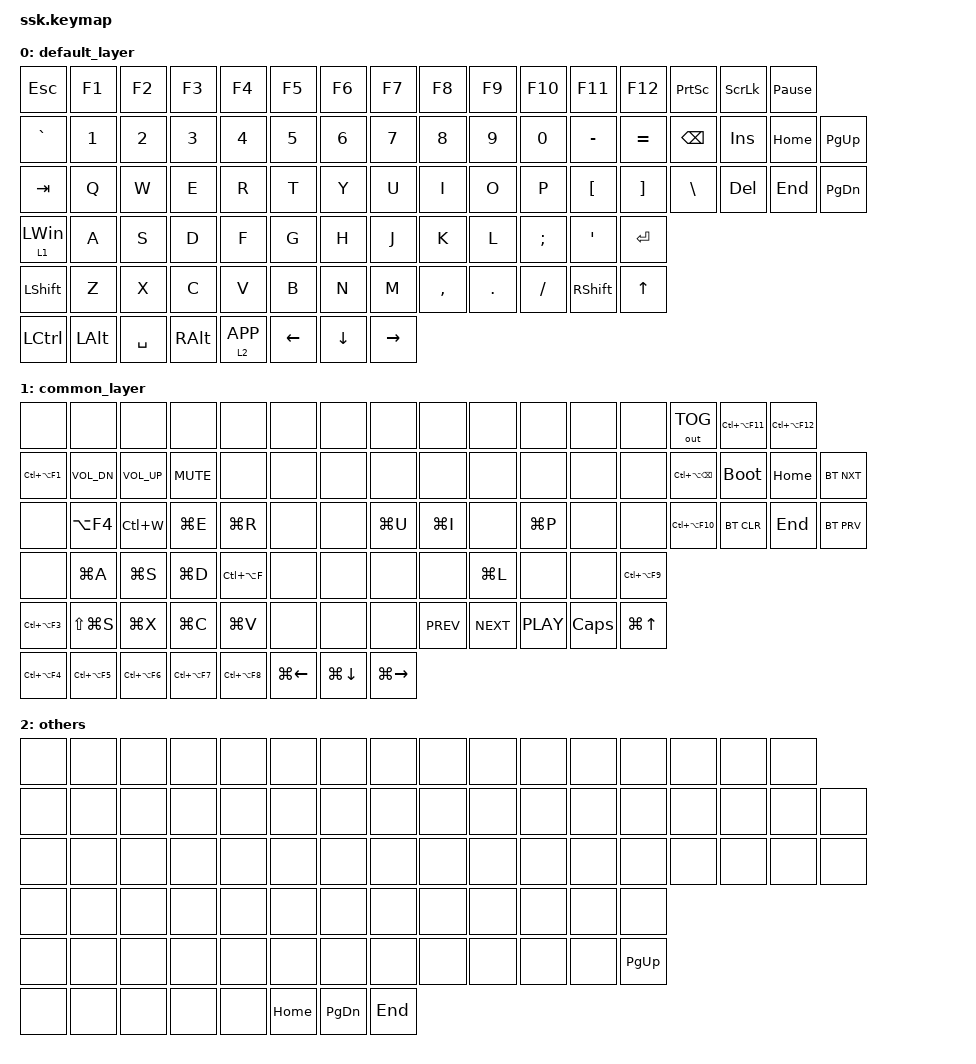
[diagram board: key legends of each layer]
#include <behaviors.dtsi>
#include <dt-bindings/zmk/bt.h>
#include <dt-bindings/zmk/keys.h>
#include <dt-bindings/zmk/outputs.h>

#define DEFAULT 0
#define COMMON 1
#define FIXRALT 2

/ {
    keymap {
        compatible = "zmk,keymap";

        default_layer {
            bindings = <
&kp ESC     &kp F1    &kp F2     &kp F3         &kp F4       &kp F5    &kp F6    &kp F7     &kp F8     &kp F9   &kp F10   &kp F11    &kp F12    &kp PSCRN  &kp SLCK  &kp PAUSE_BREAK
&kp GRAVE   &kp N1    &kp N2     &kp N3         &kp N4       &kp N5    &kp N6    &kp N7     &kp N8     &kp N9   &kp N0    &kp MINUS  &kp EQUAL  &kp BSPC   &kp INS   &kp HOME         &kp PG_UP
&kp TAB     &kp Q     &kp W      &kp E          &kp R        &kp T     &kp Y     &kp U      &kp I      &kp O    &kp P     &kp LBKT   &kp RBKT   &kp BSLH   &kp DEL   &kp END          &kp PG_DN
&lt 1 LWIN  &kp A     &kp S      &kp D          &kp F        &kp G     &kp H     &kp J      &kp K      &kp L    &kp SEMI  &kp APOS   &kp ENTER
&kp LSHFT   &kp Z     &kp X      &kp C          &kp V        &kp B     &kp N     &kp M      &kp COMMA  &kp DOT  &kp FSLH  &kp RSHFT  &kp UP
&kp LCTRL   &kp LALT  &kp SPACE  &kp RIGHT_ALT  &lt 2 K_APP  &kp LEFT  &kp DOWN  &kp RIGHT
            >;
        };

        common_layer {
            bindings = <
&none           &none           &none           &none           &none           &none         &none         &none          &none       &none       &none       &none     &none           &out OUT_TOG      &kp LC(LA(F11))  &kp LC(LA(F12))
&kp LC(LA(F1))  &kp C_VOL_DN    &kp C_VOL_UP    &kp C_MUTE      &none           &none         &none         &none          &none       &none       &none       &none     &none           &kp LC(LA(BSPC))  &bootloader      &kp HOME         &bt BT_NXT
&none           &kp LA(F4)      &kp LC(W)       &kp LG(E)       &kp LG(R)       &none         &none         &kp LG(U)      &kp LG(I)   &none       &kp LG(P)   &none     &none           &kp LC(LA(F10))   &bt BT_CLR       &kp END          &bt BT_PRV
&none           &kp LG(A)       &kp LG(S)       &kp LG(D)       &kp LC(LA(F))   &none         &none         &none          &none       &kp LG(L)   &none       &none     &kp LC(LA(F9))
&kp LC(LA(F3))  &kp LS(LG(S))   &kp LG(X)       &kp LG(C)       &kp LG(V)       &none         &none         &none          &kp C_PREV  &kp C_NEXT  &kp C_PLAY  &kp CAPS  &kp LG(UP)
&kp LC(LA(F4))  &kp LC(LA(F5))  &kp LC(LA(F6))  &kp LC(LA(F7))  &kp LC(LA(F8))  &kp LG(LEFT)  &kp LG(DOWN)  &kp LG(RIGHT)
            >;
        };

        others {
            bindings = <
&none  &none  &none  &none  &none  &none     &none      &none    &none  &none  &none  &none  &none      &none  &none  &none
&none  &none  &none  &none  &none  &none     &none      &none    &none  &none  &none  &none  &none      &none  &none  &none  &none
&none  &none  &none  &none  &none  &none     &none      &none    &none  &none  &none  &none  &none      &none  &none  &none  &none
&none  &none  &none  &none  &none  &none     &none      &none    &none  &none  &none  &none  &none
&none  &none  &none  &none  &none  &none     &none      &none    &none  &none  &none  &none  &kp PG_UP
&none  &none  &none  &none  &none  &kp HOME  &kp PG_DN  &kp END
            >;
        };
    };
};
